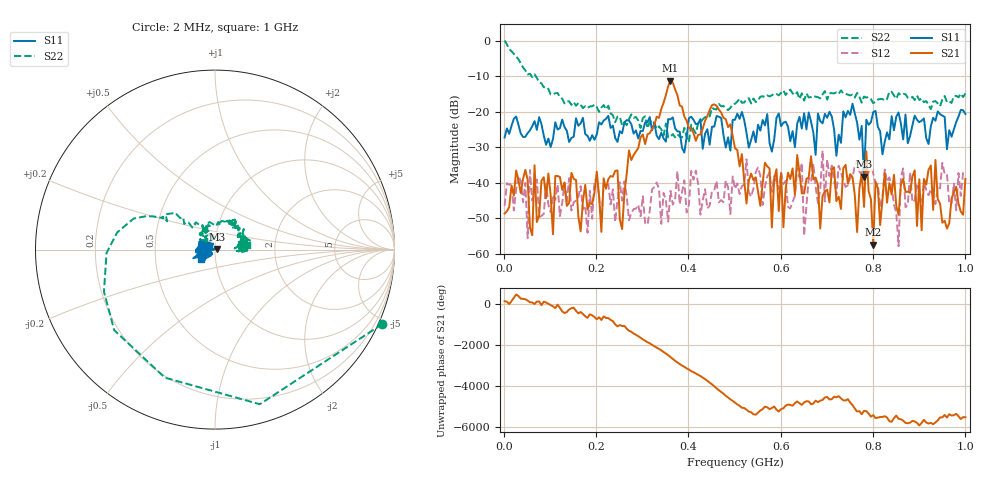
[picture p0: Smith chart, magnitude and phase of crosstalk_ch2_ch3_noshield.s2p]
!Keysight Technologies N9923A: A.12.45
!Date: Friday, 10 October 2025 01:59:12
!Timezone: (UTC+08:00) Kuala Lumpur, Singapore
!Model: N9923A
!Serial: MY61181427
!GPS Latitude:
!GPS Longitude:
!GPS TimeStamp: 0001-01-01 00:00:00Z
!GPS Seconds Since Last Read: 0
!CHECKSUM:1088434000
!Correction: S11(ON U?)S21(ON U?)S12(ON U?)S22(ON U?)
!S2P File: Measurements:S11,S21,S12,S22:
# Hz S DB R 50
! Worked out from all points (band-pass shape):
!   201 points, 2 MHz to 1 GHz, reference 50 ohm
!   highest |S21| = -11.15 dB at 361.3 MHz (marker M1); lowest = -57.5 dB at 800.4 MHz (marker M2)
!   |S21| within 3 dB of the highest: 353.5 MHz to 372.9 MHz (19.36 MHz wide, 5.33 % of centre)
!   lowest |S11| = -38.3 dB at 780.4 MHz (marker M3), VSWR 1.02, Z = 51.2 + j0.388 ohm
!   |S11| at or under -10 dB: start of sweep to end of sweep
!   |S22| runs from -28.5 to 0.2 dB; largest |S21 - S12| = 0.27
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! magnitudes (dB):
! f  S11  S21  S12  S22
! 2 MHz  -27.2  -48.7  -46.5  0.2
! 171.7 MHz  -21.7  -45.1  -47.6  -18.9
! 246.5 MHz  -28.5  -36.5  -44.9  -21.3
! 256.5 MHz  -26.0  -53.1  -45.0  -23.8
! 271.5 MHz  -22.4  -30.9  -50.6  -22.0
! 336.3 MHz  -27.7  -21.7  -41.6  -24.1
! 361.3 MHz  -22.1  -11.1  -42.3  -27.1
! 501 MHz  -22.2  -30.2  -41.8  -17.7
! 575.9 MHz  -28.8  -36.0  -37.1  -15.6
! 580.8 MHz  -31.2  -52.6  -42.6  -15.3
! 645.7 MHz  -24.7  -43.0  -34.4  -14.8
! 650.7 MHz  -20.4  -43.0  -55.0  -16.8
! 670.7 MHz  -25.8  -39.1  -34.6  -15.4
! 755.5 MHz  -17.7  -38.4  -38.5  -15.1
! 780.4 MHz  -38.3  -46.8  -34.2  -15.7
! 785.4 MHz  -22.2  -31.2  -37.8  -16.0
! 800.4 MHz  -20.0  -57.5  -37.4  -17.5
! 805.4 MHz  -19.7  -39.8  -40.0  -17.1
! 835.3 MHz  -27.7  -40.1  -38.5  -14.2
! 855.3 MHz  -20.2  -49.1  -57.9  -14.7
! 865.3 MHz  -27.8  -38.9  -36.0  -14.9
! 1 GHz  -20.6  -38.9  -37.6  -14.8
